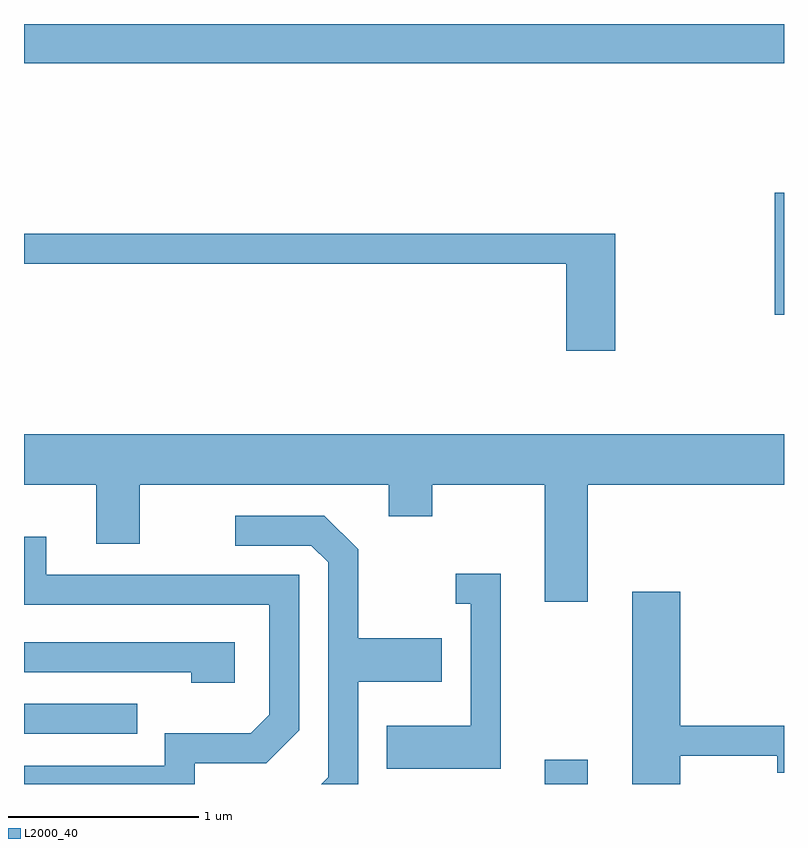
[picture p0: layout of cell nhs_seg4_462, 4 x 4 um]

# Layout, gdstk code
import gdstk
lib = gdstk.Library(unit=1e-6, precision=1e-09)
def R(c, l, rs):  # rectangles x0, y0, x1, y1
    for r in rs: c.add(gdstk.rectangle(r[:2], r[2:], *l))
def P(c, l, *ps):  # polygons
    for p in ps: c.add(gdstk.Polygon(p, *l))
L2000_40 = (2000, 40)

nhs_seg4_462 = lib.new_cell('nhs_seg4_462')
R(nhs_seg4_462, L2000_40, [(200.351,1361.982,200.579,1362.109), (197.611,1362.246,198.208,1362.404), (201.561,1364.451,201.611,1365.094), (197.611,1365.776,201.611,1365.982)])
P(nhs_seg4_462, L2000_40, [(200.724,1364.879),(197.611,1364.879),(197.611,1364.721),(200.466,1364.721),(200.466,1364.261),(200.724,1364.261)],
  [(200.579,1363.556),(201.611,1363.556),(201.611,1363.824),(197.611,1363.824),(197.611,1363.556),(197.991,1363.556),(197.991,1363.246),(198.219,1363.246),(198.219,1363.556),(199.531,1363.556),(199.531,1363.391),(199.759,1363.391),(199.759,1363.556),(200.351,1363.556),(200.351,1362.941),(200.579,1362.941)],
  [(199.369,1362.521),(199.809,1362.521),(199.809,1362.749),(199.369,1362.749),(199.369,1363.217),(199.192,1363.394),(198.723,1363.394),(198.723,1363.236),(199.124,1363.236),(199.211,1363.149),(199.211,1362.017),(199.176,1361.982),(199.369,1361.982)],
  [(198.509,1362.091),(198.887,1362.091),(199.059,1362.264),(199.059,1363.084),(197.729,1363.084),(197.729,1363.283),(197.611,1363.283),(197.611,1362.926),(198.901,1362.926),(198.901,1362.347),(198.804,1362.249),(198.351,1362.249),(198.351,1362.079),(197.611,1362.079),(197.611,1361.982),(198.509,1361.982)],
  [(200.119,1363.089),(199.883,1363.089),(199.883,1362.931),(199.961,1362.931),(199.961,1362.289),(199.521,1362.289),(199.521,1362.061),(200.119,1362.061)],
  [(201.064,1362.131),(201.576,1362.131),(201.576,1362.041),(201.611,1362.041),(201.611,1362.289),(201.064,1362.289),(201.064,1362.994),(200.811,1362.994),(200.811,1361.982),(201.064,1361.982)],
  [(198.719,1362.729),(197.611,1362.729),(197.611,1362.571),(198.491,1362.571),(198.491,1362.516),(198.719,1362.516)])

lib.write_gds('nhs_seg4_462.gds')
